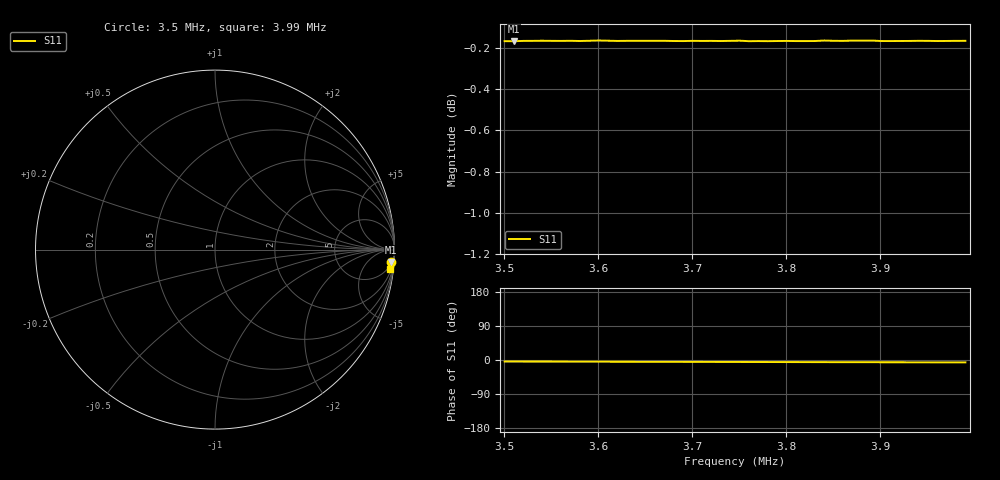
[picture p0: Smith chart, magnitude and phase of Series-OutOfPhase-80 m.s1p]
# HZ S RI R 50
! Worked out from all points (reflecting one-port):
!   50 points, 3.5 MHz to 3.99 MHz, reference 50 ohm
!   lowest |S11| = -0.2 dB at 3.51 MHz (marker M1), VSWR 104.70, Z = 366 - j1.33e+03 ohm
!   phase of S11 starts at -4 deg and turns -2 deg over the sweep
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3500200  0.9788 -0.0677
3510204  0.9787 -0.0683
3540216  0.9788 -0.0711
3570228  0.9785 -0.0738
3580232  0.9783 -0.0745
3600240  0.9785 -0.0765
3620248  0.9781 -0.0779
3630252  0.9781 -0.0788
3660264  0.9779 -0.0816
3680272  0.9777 -0.083
3690276  0.9776 -0.084
3730292  0.9773 -0.0873
3750300  0.9773 -0.089
3760304  0.977 -0.0899
3780312  0.9768 -0.0914
3810324  0.9766 -0.094
3830332  0.9765 -0.0958
3840336  0.9767 -0.0965
3850340  0.9765 -0.0972
3860344  0.9763 -0.0981
3870348  0.9764 -0.099
3890356  0.9763 -0.1007
3900360  0.9759 -0.1015
3910364  0.9758 -0.1022
3930372  0.9757 -0.1039
3940376  0.9757 -0.1049
3970388  0.9753 -0.1071
3990396  0.9752 -0.1089
